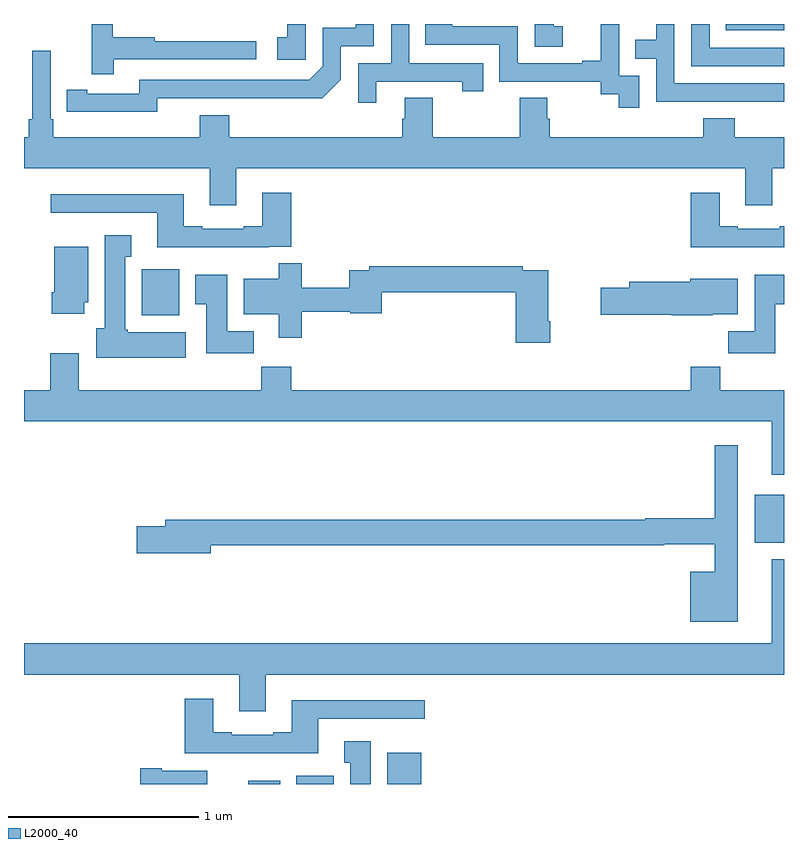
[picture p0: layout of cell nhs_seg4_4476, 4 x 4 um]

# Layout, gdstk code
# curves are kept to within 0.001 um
import gdstk
lib = gdstk.Library(unit=1e-6, precision=1e-09)
def R(c, l, rs):  # rectangles x0, y0, x1, y1
    for r in rs: c.add(gdstk.rectangle(r[:2], r[2:], *l))
def P(c, l, *ps):  # polygons
    for p in ps: c.add(gdstk.Polygon(p, *l))
L2000_40 = (2000, 40)

nhs_seg4_4476 = lib.new_cell('nhs_seg4_4476')
R(nhs_seg4_4476, L2000_40, [(352.181,806.9,352.348,806.917), (352.433,806.9,352.63,806.944), (352.913,806.9,353.092,807.064), (354.845,808.169,355,808.423), (351.62,809.366,351.817,809.608), (354.694,810.866,355,810.9), (351.777,810.899,352.204,810.9)])
P(nhs_seg4_4476, L2000_40, [(352.855,810.597),(353.306,810.597),(353.306,810.546),(353.417,810.546),(353.417,810.693),(353.028,810.693),(353.028,810.9),(352.932,810.9),(352.932,810.693),(352.758,810.693),(352.758,810.486),(352.855,810.486)],
  [(354.237,810.627),(354.132,810.627),(354.132,810.857),(354.134,810.857),(354.134,810.9),(354.035,810.9),(354.035,810.706),(353.939,810.706),(353.939,810.693),(353.598,810.693),(353.598,810.888),(353.253,810.888),(353.253,810.9),(353.113,810.9),(353.113,810.792),(353.502,810.792),(353.502,810.597),(354.036,810.597),(354.036,810.529),(354.129,810.529),(354.129,810.459),(354.237,810.459)],
  [(355,810.588),(354.423,810.588),(354.423,810.9),(354.327,810.9),(354.327,810.818),(354.217,810.818),(354.217,810.717),(354.327,810.717),(354.327,810.492),(354.823,810.492),(354.823,810.491),(355,810.491)],
  [(352.482,810.9),(352.385,810.9),(352.385,810.831),(352.332,810.831),(352.332,810.711),(352.482,810.711)],
  [(351.702,810.51),(352.57,810.509),(352.668,810.606),(352.668,810.783),(352.842,810.783),(352.842,810.9),(352.745,810.9),(352.745,810.879),(352.572,810.879),(352.572,810.678),(352.5,810.606),(351.606,810.606),(351.606,810.534),(351.334,810.534),(351.334,810.554),(351.226,810.554),(351.226,810.438),(351.702,810.437)],
  [(353.836,810.889),(353.787,810.889),(353.787,810.9),(353.688,810.9),(353.688,810.78),(353.836,810.78)],
  [(351.473,810.714),(352.222,810.714),(352.222,810.81),(351.689,810.81),(351.689,810.83),(351.466,810.83),(351.466,810.9),(351.356,810.9),(351.356,810.636),(351.473,810.636)],
  [(355,810.774),(354.609,810.774),(354.609,810.9),(354.513,810.9),(354.513,810.678),(355,810.678)],
  [(352.117,810.14),(354.797,810.14),(354.797,809.946),(354.937,809.946),(354.937,810.14),(355,810.14),(355,810.304),(354.74,810.304),(354.74,810.403),(354.575,810.403),(354.575,810.304),(353.768,810.304),(353.768,810.402),(353.755,810.402),(353.755,810.512),(353.608,810.512),(353.608,810.304),(353.151,810.304),(353.151,810.512),(353.003,810.512),(353.003,810.402),(352.991,810.402),(352.991,810.304),(352.079,810.304),(352.079,810.421),(351.926,810.421),(351.926,810.304),(351.155,810.304),(351.155,810.4),(351.141,810.4),(351.141,810.76),(351.044,810.76),(351.044,810.4),(351.025,810.4),(351.025,810.304),(351,810.304),(351,810.14),(351.977,810.14),(351.977,809.946),(352.117,809.946)],
  [(355,809.836),(354.977,809.836),(354.977,809.823),(354.757,809.823),(354.757,809.836),(354.661,809.836),(354.661,810.013),(354.509,810.013),(354.509,809.726),(355,809.726)],
  [(352.289,809.727),(352.406,809.727),(352.406,810.013),(352.253,810.013),(352.253,809.836),(352.157,809.836),(352.157,809.823),(351.937,809.823),(351.937,809.836),(351.841,809.836),(351.841,810.004),(351.141,810.004),(351.141,809.907),(351.701,809.907),(351.701,809.726),(352.289,809.726)],
  [(351.85,809.278),(351.546,809.278),(351.546,809.292),(351.532,809.292),(351.532,809.675),(351.565,809.675),(351.565,809.788),(351.425,809.788),(351.425,809.298),(351.38,809.298),(351.38,809.144),(351.85,809.144)],
  [(351.316,809.436),(351.337,809.436),(351.337,809.728),(351.158,809.728),(351.158,809.488),(351.146,809.488),(351.146,809.376),(351.316,809.376)],
  [(353.771,809.335),(353.758,809.335),(353.758,809.604),(353.624,809.604),(353.624,809.624),(352.816,809.624),(352.816,809.604),(352.712,809.604),(352.712,809.513),(352.462,809.513),(352.462,809.642),(352.34,809.642),(352.34,809.56),(352.157,809.56),(352.157,809.372),(352.34,809.372),(352.34,809.25),(352.462,809.25),(352.462,809.385),(352.716,809.385),(352.716,809.377),(352.883,809.377),(352.883,809.488),(353.588,809.488),(353.588,809.223),(353.771,809.223)],
  [(352.208,809.284),(352.069,809.284),(352.069,809.581),(351.902,809.581),(351.902,809.425),(351.959,809.425),(351.959,809.166),(352.208,809.166)],
  [(354.955,809.425),(355,809.425),(355,809.581),(354.845,809.581),(354.845,809.284),(354.706,809.284),(354.706,809.166),(354.955,809.166)],
  [(354.624,809.372),(354.757,809.372),(354.757,809.56),(354.506,809.56),(354.506,809.543),(354.185,809.543),(354.185,809.513),(354.036,809.513),(354.036,809.371),(354.41,809.371),(354.41,809.366),(354.624,809.366)],
  [(355,808.972),(354.665,808.972),(354.665,809.096),(354.509,809.096),(354.509,808.972),(352.406,808.972),(352.406,809.096),(352.249,809.096),(352.249,808.972),(351.289,808.972),(351.289,809.167),(351.137,809.167),(351.137,808.972),(351,808.972),(351,808.808),(354.935,808.808),(354.935,808.527),(355,808.527)],
  [(354.757,808.684),(354.636,808.684),(354.636,808.298),(354.27,808.298),(354.27,808.292),(351.743,808.292),(351.743,808.256),(351.594,808.256),(351.594,808.114),(351.982,808.114),(351.982,808.156),(354.37,808.156),(354.37,808.163),(354.636,808.163),(354.636,808.018),(354.506,808.018),(354.506,807.755),(354.757,807.755)],
  [(352.273,807.476),(355,807.476),(355,808.084),(354.935,808.084),(354.935,807.64),(351,807.64),(351,807.476),(352.133,807.476),(352.133,807.282),(352.273,807.282)],
  [(352.549,807.243),(353.11,807.243),(353.11,807.34),(352.409,807.34),(352.409,807.172),(352.313,807.172),(352.313,807.159),(352.093,807.159),(352.093,807.172),(351.997,807.172),(351.997,807.349),(351.845,807.349),(351.845,807.062),(352.549,807.062)],
  [(352.825,807.124),(352.685,807.124),(352.685,807.011),(352.718,807.011),(352.718,806.9),(352.825,806.9)],
  [(351.964,806.971),(351.724,806.971),(351.724,806.984),(351.612,806.984),(351.612,806.9),(351.964,806.9)])

lib.write_gds('nhs_seg4_4476.gds')
